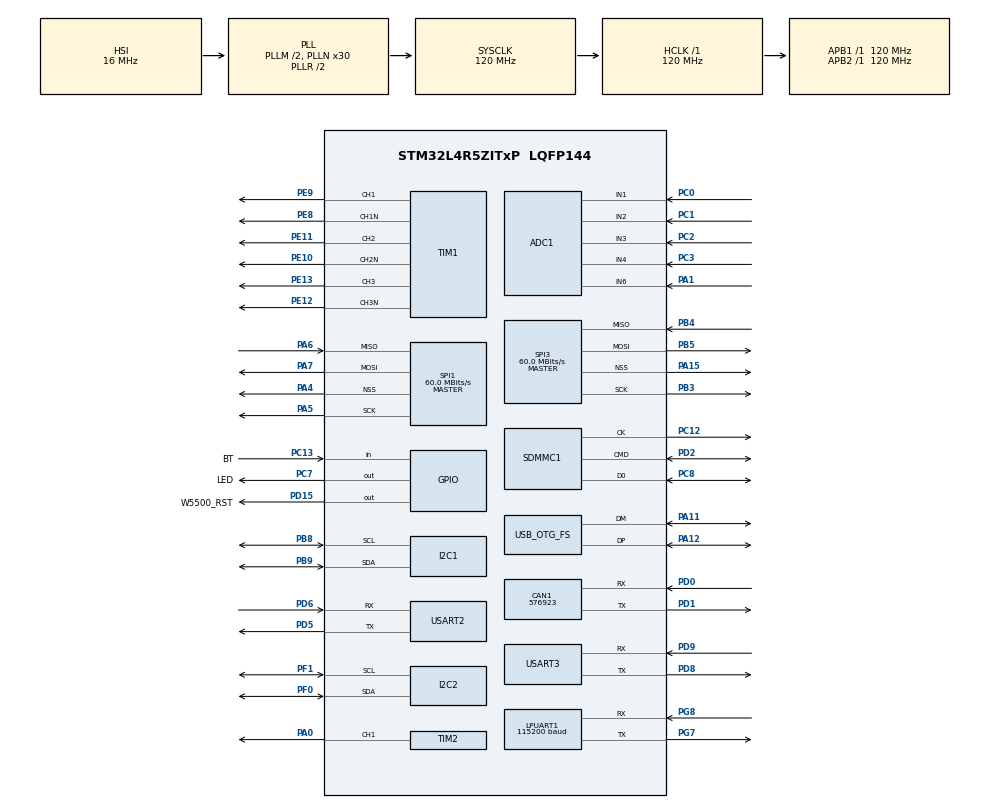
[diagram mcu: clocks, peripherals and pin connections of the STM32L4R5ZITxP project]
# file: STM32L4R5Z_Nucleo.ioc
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ADC1.Channel-0\#ChannelRegularConversion=ADC_CHANNEL_1
ADC1.Channel-5\#ChannelRegularConversion=ADC_CHANNEL_2
ADC1.Channel-6\#ChannelRegularConversion=ADC_CHANNEL_3
ADC1.Channel-7\#ChannelRegularConversion=ADC_CHANNEL_4
ADC1.Channel-8\#ChannelRegularConversion=ADC_CHANNEL_6
ADC1.Channel-9\#ChannelRegularConversion=ADC_CHANNEL_TEMPSENSOR
ADC1.ContinuousConvMode=ENABLE
ADC1.DMAContinuousRequests=ENABLE
ADC1.EnableInjectedConversion=DISABLE
ADC1.NbrOfConversion=6
ADC1.NbrOfConversionFlag=1
ADC1.OffsetNumber-0\#ChannelRegularConversion=ADC_OFFSET_NONE
ADC1.OffsetNumber-5\#ChannelRegularConversion=ADC_OFFSET_NONE
ADC1.OffsetNumber-6\#ChannelRegularConversion=ADC_OFFSET_NONE
ADC1.OffsetNumber-7\#ChannelRegularConversion=ADC_OFFSET_NONE
ADC1.OffsetNumber-8\#ChannelRegularConversion=ADC_OFFSET_NONE
ADC1.OffsetNumber-9\#ChannelRegularConversion=ADC_OFFSET_NONE
ADC1.OversamplingMode=ENABLE
ADC1.Rank-0\#ChannelRegularConversion=1
ADC1.Rank-5\#ChannelRegularConversion=2
ADC1.Rank-6\#ChannelRegularConversion=3
ADC1.Rank-7\#ChannelRegularConversion=4
ADC1.Rank-8\#ChannelRegularConversion=5
ADC1.Rank-9\#ChannelRegularConversion=6
ADC1.Rank1_Channel=ADC_CHANNEL_1
ADC1.Rank2_Channel=ADC_CHANNEL_1
ADC1.Rank3_Channel=ADC_CHANNEL_1
ADC1.Rank4_Channel=ADC_CHANNEL_1
ADC1.Ratio=ADC_OVERSAMPLING_RATIO_8
ADC1.RightBitShift=ADC_RIGHTBITSHIFT_3
ADC1.SamplingTime-0\#ChannelRegularConversion=ADC_SAMPLETIME_24CYCLES_5
ADC1.SamplingTime-5\#ChannelRegularConversion=ADC_SAMPLETIME_24CYCLES_5
ADC1.SamplingTime-6\#ChannelRegularConversion=ADC_SAMPLETIME_24CYCLES_5
ADC1.SamplingTime-7\#ChannelRegularConversion=ADC_SAMPLETIME_24CYCLES_5
ADC1.SamplingTime-8\#ChannelRegularConversion=ADC_SAMPLETIME_24CYCLES_5
ADC1.SamplingTime-9\#ChannelRegularConversion=ADC_SAMPLETIME_24CYCLES_5
ADC1.master=1
CAN1.BS1=CAN_BS1_6TQ
CAN1.BS2=CAN_BS2_6TQ
CAN1.CalculateBaudRate=576923
CAN1.CalculateTimeBit=1733
CAN1.CalculateTimeQuantum=133.33333333333334
Dma.ADC1.1.Direction=DMA_PERIPH_TO_MEMORY
Dma.ADC1.1.EventEnable=DISABLE
Dma.ADC1.1.Instance=DMA1_Channel2
Dma.ADC1.1.MemDataAlignment=DMA_MDATAALIGN_HALFWORD
Dma.ADC1.1.MemInc=DMA_MINC_ENABLE
Dma.ADC1.1.Mode=DMA_CIRCULAR
Dma.ADC1.1.PeriphDataAlignment=DMA_PDATAALIGN_HALFWORD
Dma.ADC1.1.PeriphInc=DMA_PINC_DISABLE
Dma.ADC1.1.Polarity=HAL_DMAMUX_REQUEST_GEN_RISING
Dma.ADC1.1.Priority=DMA_PRIORITY_LOW
Dma.ADC1.1.RequestNumber=1
Dma.ADC1.1.SignalID=NONE
Dma.ADC1.1.SyncEnable=DISABLE
Dma.ADC1.1.SyncPolarity=HAL_DMAMUX_SYNC_NO_EVENT
Dma.ADC1.1.SyncRequestNumber=1
Dma.ADC1.1.SyncSignalID=NONE
Dma.LPUART1_RX.0.Direction=DMA_PERIPH_TO_MEMORY
Dma.LPUART1_RX.0.EventEnable=DISABLE
Dma.LPUART1_RX.0.Instance=DMA1_Channel1
Dma.LPUART1_RX.0.MemDataAlignment=DMA_MDATAALIGN_BYTE
Dma.LPUART1_RX.0.MemInc=DMA_MINC_ENABLE
Dma.LPUART1_RX.0.Mode=DMA_CIRCULAR
Dma.LPUART1_RX.0.PeriphDataAlignment=DMA_PDATAALIGN_BYTE
Dma.LPUART1_RX.0.PeriphInc=DMA_PINC_DISABLE
Dma.LPUART1_RX.0.Polarity=HAL_DMAMUX_REQUEST_GEN_RISING
Dma.LPUART1_RX.0.Priority=DMA_PRIORITY_LOW
Dma.LPUART1_RX.0.RequestNumber=1
Dma.LPUART1_RX.0.SignalID=NONE
Dma.LPUART1_RX.0.SyncEnable=DISABLE
Dma.LPUART1_RX.0.SyncPolarity=HAL_DMAMUX_SYNC_NO_EVENT
Dma.LPUART1_RX.0.SyncRequestNumber=1
Dma.LPUART1_RX.0.SyncSignalID=NONE
Dma.Request0=LPUART1_RX
Dma.Request1=ADC1
FREERTOS.INCLUDE_eTaskGetState=1
FREERTOS.INCLUDE_pcTaskGetTaskName=1
FREERTOS.INCLUDE_uxTaskGetStackHighWaterMark=1
FREERTOS.INCLUDE_uxTaskGetStackHighWaterMark2=1
FREERTOS.INCLUDE_vTaskCleanUpResources=1
FREERTOS.INCLUDE_vTaskDelayUntil=1
FREERTOS.INCLUDE_xEventGroupSetBitFromISR=0
FREERTOS.INCLUDE_xQueueGetMutexHolder=1
FREERTOS.INCLUDE_xSemaphoreGetMutexHolder=1
FREERTOS.INCLUDE_xTaskAbortDelay=1
FREERTOS.INCLUDE_xTaskGetCurrentTaskHandle=1
FREERTOS.INCLUDE_xTaskGetHandle=1
FREERTOS.Tasks01=defaultTask,0,128,StartDefaultTask,Default,NULL,Dynamic,NULL,NULL
FREERTOS.configENABLE_FPU=1
FREERTOS.configTIMER_QUEUE_LENGTH=16
FREERTOS.configTOTAL_HEAP_SIZE=65536
FREERTOS.configUSE_STATS_FORMATTING_FUNCTIONS=1
FREERTOS.configUSE_TRACE_FACILITY=1
I2C1.Timing=0x30A175AB
I2C2.Timing=0x30A175AB
LPUART1.BaudRate=115200
LPUART1.WordLength=UART_WORDLENGTH_8B
Mcu.Family=STM32L4
Mcu.Name=STM32L4R5ZITxP
Mcu.Package=LQFP144
NVIC.DMA1_Channel1_IRQn=true\:5\:0\:false\:false\:true\:true\:false\:true\:true
NVIC.DMA1_Channel2_IRQn=true\:5\:0\:false\:false\:true\:true\:false\:true\:true
NVIC.PriorityGroup=NVIC_PRIORITYGROUP_4
NVIC.SDMMC1_IRQn=true\:5\:0\:false\:false\:true\:true\:true\:true\:true
PA0.Signal=S_TIM2_CH1
PA1.Signal=ADCx_IN6
PA10.Signal=USB_OTG_FS_ID
PA11.Mode=Device_Only
PA11.Signal=USB_OTG_FS_DM
PA12.Mode=Device_Only
PA12.Signal=USB_OTG_FS_DP
PA13\ (JTMS/SWDIO).Mode=Serial_Wire
PA13\ (JTMS/SWDIO).Signal=SYS_JTMS-SWDIO
PA14\ (JTCK/SWCLK).Mode=Serial_Wire
PA14\ (JTCK/SWCLK).Signal=SYS_JTCK-SWCLK
PA15\ (JTDI).Mode=NSS_Signal_Hard_Output
PA15\ (JTDI).Signal=SPI3_NSS
PA3.Signal=ADCx_IN8
PA4.Mode=NSS_Signal_Hard_Output
PA4.Signal=SPI1_NSS
PA5.Mode=Full_Duplex_Master
PA5.Signal=SPI1_SCK
PA6.Mode=Full_Duplex_Master
PA6.Signal=SPI1_MISO
PA7.Mode=Full_Duplex_Master
PA7.Signal=SPI1_MOSI
PA8.Signal=USB_OTG_FS_SOF
PA9.Signal=USB_OTG_FS_VBUS
PB0.Signal=S_TIM3_CH3
PB1.Signal=ADCx_IN16
PB10.Signal=S_TIM2_CH3
PB12.Signal=SAI2_FS_A
PB13.Signal=SAI2_SCK_A
PB14.Signal=S_TIM15_CH1
PB15.Signal=SAI2_SD_A
PB2.Signal=COMP1_INP
PB3\ (JTDO/TRACESWO).Mode=Full_Duplex_Master
PB3\ (JTDO/TRACESWO).Signal=SPI3_SCK
PB4\ (NJTRST).Mode=Full_Duplex_Master
PB4\ (NJTRST).Signal=SPI3_MISO
PB5.Mode=Full_Duplex_Master
PB5.Signal=SPI3_MOSI
PB6.Signal=COMP2_INP
PB8.GPIO_Pu=GPIO_PULLUP
PB8.Mode=I2C
PB8.Signal=I2C1_SCL
PB9.GPIO_Pu=GPIO_PULLUP
PB9.Mode=I2C
PB9.Signal=I2C1_SDA
PC0.Signal=ADCx_IN1
PC1.Signal=ADCx_IN2
PC10.GPIO_PuPd=GPIO_PULLUP
PC10.Signal=SDMMC1_D2
PC11.GPIO_PuPd=GPIO_PULLUP
PC11.Signal=SDMMC1_D3
PC12.GPIO_PuPd=GPIO_PULLUP
PC12.Mode=SD_1_bit
PC12.Signal=SDMMC1_CK
PC13.GPIO_Label=BT
PC13.Signal=GPIO_Input
PC14-OSC32_IN\ (PC14).Mode=LSE-External-Oscillator
PC14-OSC32_IN\ (PC14).Signal=RCC_OSC32_IN
PC15-OSC32_OUT\ (PC15).Mode=LSE-External-Oscillator
PC15-OSC32_OUT\ (PC15).Signal=RCC_OSC32_OUT
PC2.Signal=ADCx_IN3
PC3.Signal=ADCx_IN4
PC4.Signal=ADCx_IN13
PC5.Signal=ADCx_IN14
PC6.Signal=SAI2_MCLK_A
PC7.GPIO_Label=LED
PC7.Signal=GPIO_Output
PC8.GPIO_PuPd=GPIO_PULLUP
PC8.Mode=SD_1_bit
PC8.Signal=SDMMC1_D0
PC9.GPIO_PuPd=GPIO_PULLUP
PC9.Signal=SDMMC1_D1
PD0.Mode=CAN_Activate
PD0.Signal=CAN1_RX
PD1.Mode=CAN_Activate
PD1.Signal=CAN1_TX
PD14.Signal=S_TIM4_CH3
PD15.GPIO_Label=W5500_RST
PD15.Signal=GPIO_Output
PD2.GPIO_PuPd=GPIO_PULLUP
PD2.Mode=SD_1_bit
PD2.Signal=SDMMC1_CMD
PD3.Signal=USART2_CTS
PD4.Signal=USART2_RTS
PD5.Mode=Asynchronous
PD5.Signal=USART2_TX
PD6.Mode=Asynchronous
PD6.Signal=USART2_RX
PD8.Mode=Asynchronous
PD8.Signal=USART3_TX
PD9.Mode=Asynchronous
PD9.Signal=USART3_RX
PE0.Signal=S_TIM4_ETR
PE10.Mode=PWM Generation2 CH2 CH2N
PE10.Signal=TIM1_CH2N
PE11.Signal=S_TIM1_CH2
PE12.Mode=Output Compare3 CH3 CH3N
PE12.Signal=TIM1_CH3N
PE13.Signal=S_TIM1_CH3
PE14.Signal=TIM1_BKIN2
PE15.Signal=TIM1_BKIN
PE2.Signal=SAI1_MCLK_A
PE3.Signal=SAI1_SD_B
PE7.Signal=S_TIM1_ETR
PE8.Mode=PWM Generation1 CH1 CH1N
PE8.Signal=TIM1_CH1N
PE9.Signal=S_TIM1_CH1
PF0.GPIO_Pu=GPIO_PULLUP
PF0.Mode=I2C
PF0.Signal=I2C2_SDA
PF1.GPIO_Pu=GPIO_PULLUP
PF1.Mode=I2C
PF1.Signal=I2C2_SCL
PF2.GPIO_Pu=GPIO_PULLUP
PF2.Signal=I2C2_SMBA
PF7.Signal=SAI1_MCLK_B
PG7.Mode=Asynchronous
PG7.Signal=LPUART1_TX
PG8.Mode=Asynchronous
PG8.Signal=LPUART1_RX
PH0-OSC_IN\ (PH0).Mode=HSE-External-Oscillator
PH0-OSC_IN\ (PH0).Signal=RCC_OSC_IN
PH1-OSC_OUT\ (PH1).Mode=HSE-External-Oscillator
PH1-OSC_OUT\ (PH1).Signal=RCC_OSC_OUT
ProjectManager.HeapSize=0x4000
ProjectManager.StackSize=0x4000
ProjectManager.TargetToolchain=STM32CubeIDE
RCC.ADCFreq_Value=50000000
RCC.AHBFreq_Value=120000000
RCC.APB1Freq_Value=120000000
RCC.APB1TimFreq_Value=120000000
RCC.APB2Freq_Value=120000000
RCC.APB2TimFreq_Value=120000000
RCC.CK48CLockSelection=RCC_USBCLKSOURCE_HSI48
RCC.CortexFreq_Value=120000000
RCC.HCLKFreq_Value=120000000
RCC.HSE_VALUE=8000000
RCC.HSI48_VALUE=48000000
RCC.HSI_VALUE=16000000
RCC.MSI_VALUE=4000000
RCC.PLLM1=2
RCC.PLLM2=2
RCC.PLLM3=2
RCC.PLLN=30
RCC.PLLSAI1N=25
RCC.PLLSAI1R=RCC_PLLR_DIV4
RCC.PLLSAI2N=25
RCC.PLLSourceVirtual=RCC_PLLSOURCE_HSI
RCC.SYSCLKFreq_VALUE=120000000
RCC.SYSCLKSource=RCC_SYSCLKSOURCE_PLLCLK
RCC.USBFreq_Value=48000000
RCC.VCOOutputFreq_Value=240000000
SDMMC1.ClockDiv=2
SDMMC1.HardwareFlowControl=SDMMC_HARDWARE_FLOW_CONTROL_DISABLE
SH.ADCx_IN1.0=ADC1_IN1,IN1-Single-Ended
SH.ADCx_IN13.0=ADC1_IN13
SH.ADCx_IN14.0=ADC1_IN14
SH.ADCx_IN16.0=ADC1_IN16
SH.ADCx_IN2.0=ADC1_IN2,IN2-Single-Ended
SH.ADCx_IN3.0=ADC1_IN3,IN3-Single-Ended
SH.ADCx_IN4.0=ADC1_IN4,IN4-Single-Ended
SH.ADCx_IN6.0=ADC1_IN6,IN6-Single-Ended
SH.ADCx_IN8.0=ADC1_IN8
SH.S_TIM15_CH1.0=TIM15_CH1
SH.S_TIM1_CH1.0=TIM1_CH1,PWM Generation1 CH1 CH1N
SH.S_TIM1_CH2.0=TIM1_CH2,PWM Generation2 CH2 CH2N
SH.S_TIM1_CH3.0=TIM1_CH3,Output Compare3 CH3 CH3N
SH.S_TIM1_ETR.0=TIM1_ETR
SH.S_TIM2_CH1.0=TIM2_CH1,PWM Generation1 CH1
SH.S_TIM2_CH3.0=TIM2_CH3
SH.S_TIM3_CH3.0=TIM3_CH3
SH.S_TIM4_CH3.0=TIM4_CH3
SH.S_TIM4_ETR.0=TIM4_ETR
SPI1.CalculateBaudRate=60.0 MBits/s
SPI1.Direction=SPI_DIRECTION_2LINES
SPI1.Mode=SPI_MODE_MASTER
SPI1.VirtualNSS=VM_NSSHARD
SPI1.VirtualType=VM_MASTER
SPI3.CalculateBaudRate=60.0 MBits/s
SPI3.Direction=SPI_DIRECTION_2LINES
SPI3.Mode=SPI_MODE_MASTER
SPI3.VirtualNSS=VM_NSSHARD
SPI3.VirtualType=VM_MASTER
TIM1.Channel-Output\ Compare3\ CH3\ CH3N=TIM_CHANNEL_3
TIM1.Channel-PWM\ Generation1\ CH1\ CH1N=TIM_CHANNEL_1
TIM1.Channel-PWM\ Generation2\ CH2\ CH2N=TIM_CHANNEL_2
TIM2.Channel-PWM\ Generation1\ CH1=TIM_CHANNEL_1
TIM2.Period=65535
TIM2.Prescaler=9999
USART2.VirtualMode-Asynchronous=VM_ASYNC
USART3.VirtualMode-Asynchronous=VM_ASYNC
USB_OTG_FS.VirtualMode=Device_Only
VP_ADC1_TempSens_Input.Mode=IN-TempSens
VP_CRC_VS_CRC.Mode=CRC_Activate
VP_FREERTOS_VS_CMSIS_V1.Mode=CMSIS_V1
VP_RNG_VS_RNG.Mode=RNG_Activate
VP_RTC_VS_RTC_Activate.Mode=RTC_Enabled
VP_TIM6_VS_ClockSourceINT.Mode=Enable_Timer
board=NUCLEO-L4R5ZI-P

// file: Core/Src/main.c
/* USER CODE BEGIN Header */
/**
  ******************************************************************************
  * @file           : main.c
  * @brief          : Main program body
  ******************************************************************************
  * @attention
  *
  * Copyright (c) 2025 STMicroelectronics.
  * All rights reserved.
  *
  * This software is licensed under terms that can be found in the LICENSE file
  * in the root directory of this software component.
  * If no LICENSE file comes with this software, it is provided AS-IS.
  *
  ******************************************************************************
  */
#if 0
/* USER CODE END Header */
#include "main.h"
#include "cmsis_os.h"
#include "adc.h"
#include "can.h"
#include "crc.h"
#include "dma.h"
#include "i2c.h"
#include "usart.h"
#include "rng.h"
#include "rtc.h"
#include "sdmmc.h"
#include "spi.h"
#include "tim.h"
#include "usb_otg.h"
#include "gpio.h"

/* USER CODE BEGIN Includes */
#endif
#include "main.h"
#include "ap.h"
#include "hw.h"
#include "mw.h"
/* USER CODE END Includes */

void SystemClock_Config(void);
void MX_FREERTOS_Init(void);
/* USER CODE BEGIN PFP */
static void mainTask(void *argument);
/* USER CODE END PFP */

/* USER CODE BEGIN 0 */
void mainTask(void *argument)
{
  UNUSED(argument);

  hwInit();
  mwInit();
  apInit();

  apMain();
}
/* USER CODE END 0 */

int main(void)
{

  /* MCU Configuration--------------------------------------------------------*/

  /* Reset of all peripherals, Initializes the Flash interface and the Systick. */
  HAL_Init();

  /* Configure the system clock */
  SystemClock_Config();

  /* Initialize all configured peripherals */
  MX_GPIO_Init();
  MX_DMA_Init();
  MX_LPUART1_UART_Init();
  MX_CRC_Init();
  MX_RNG_Init();
  MX_ADC1_Init();
  MX_CAN1_Init();
  MX_I2C1_Init();
  MX_I2C2_Init();
  MX_USART2_UART_Init();
  MX_USART3_UART_Init();
  MX_SPI1_Init();
  MX_SPI3_Init();
  MX_TIM1_Init();
  MX_TIM2_Init();
  MX_USB_OTG_FS_PCD_Init();
  MX_RTC_Init();
  MX_TIM6_Init();
  MX_SDMMC1_SD_Init();
  /* USER CODE BEGIN 2 */
#if 0
  /* USER CODE END 2 */

  /* Call init function for freertos objects (in cmsis_os2.c) */
  MX_FREERTOS_Init();

  /* Start scheduler */
  osKernelStart();

  /* We should never get here as control is now taken by the scheduler */

  /* Infinite loop */
  while (1)
  {

    /* USER CODE BEGIN 3 */
  }
#else

  osThreadId main_task_handle;

  osThreadDef(main_thread, mainTask, osPriorityNormal, 0, 1024);
  main_task_handle = osThreadCreate(osThread(main_thread), NULL);

  osKernelStart();

  while(1)
  {
    Error_Handler();
  }
#endif
  /* USER CODE END 3 */
}

void SystemClock_Config(void)
{
  RCC_OscInitTypeDef RCC_OscInitStruct = {0};
  RCC_ClkInitTypeDef RCC_ClkInitStruct = {0};

  /** Configure the main internal regulator output voltage
  */
  if (HAL_PWREx_ControlVoltageScaling(PWR_REGULATOR_VOLTAGE_SCALE1_BOOST) != HAL_OK)
  {
    Error_Handler();
  }

  /** Initializes the RCC Oscillators according to the specified parameters
  * in the RCC_OscInitTypeDef structure.
  */
  RCC_OscInitStruct.OscillatorType = RCC_OSCILLATORTYPE_HSI48|RCC_OSCILLATORTYPE_HSI
                              |RCC_OSCILLATORTYPE_LSI;
  RCC_OscInitStruct.HSIState = RCC_HSI_ON;
  RCC_OscInitStruct.HSI48State = RCC_HSI48_ON;
  RCC_OscInitStruct.HSICalibrationValue = RCC_HSICALIBRATION_DEFAULT;
  RCC_OscInitStruct.LSIState = RCC_LSI_ON;
  RCC_OscInitStruct.PLL.PLLState = RCC_PLL_ON;
  RCC_OscInitStruct.PLL.PLLSource = RCC_PLLSOURCE_HSI;
  RCC_OscInitStruct.PLL.PLLM = 2;
  RCC_OscInitStruct.PLL.PLLN = 30;
  RCC_OscInitStruct.PLL.PLLP = RCC_PLLP_DIV2;
  RCC_OscInitStruct.PLL.PLLQ = RCC_PLLQ_DIV2;
  RCC_OscInitStruct.PLL.PLLR = RCC_PLLR_DIV2;
  if (HAL_RCC_OscConfig(&RCC_OscInitStruct) != HAL_OK)
  {
    Error_Handler();
  }

  /** Initializes the CPU, AHB and APB buses clocks
  */
  RCC_ClkInitStruct.ClockType = RCC_CLOCKTYPE_HCLK|RCC_CLOCKTYPE_SYSCLK
                              |RCC_CLOCKTYPE_PCLK1|RCC_CLOCKTYPE_PCLK2;
  RCC_ClkInitStruct.SYSCLKSource = RCC_SYSCLKSOURCE_PLLCLK;
  RCC_ClkInitStruct.AHBCLKDivider = RCC_SYSCLK_DIV1;
  RCC_ClkInitStruct.APB1CLKDivider = RCC_HCLK_DIV1;
  RCC_ClkInitStruct.APB2CLKDivider = RCC_HCLK_DIV1;

  if (HAL_RCC_ClockConfig(&RCC_ClkInitStruct, FLASH_LATENCY_5) != HAL_OK)
  {
    Error_Handler();
  }
}

void Error_Handler(void)
{
  __disable_irq();
  while (1)
  {
  }
}
